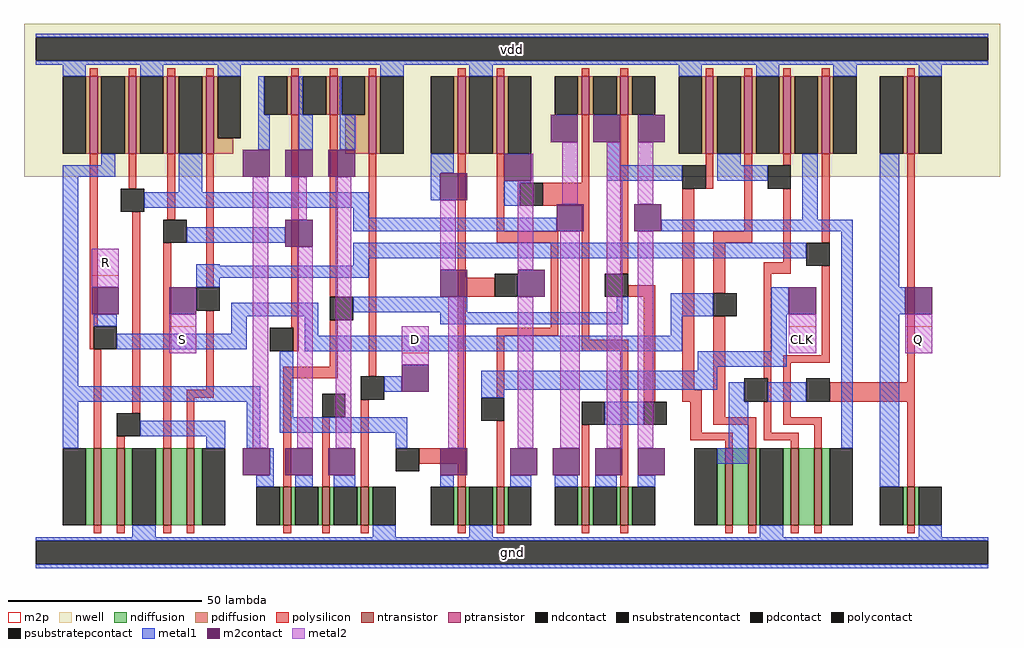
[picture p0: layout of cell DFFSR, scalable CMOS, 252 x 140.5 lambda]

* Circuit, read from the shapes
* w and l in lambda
.subckt DFFSR R S D CLK Q vdd gnd
M1 n1 R n2 gnd nfet w=20 l=2
M2 gnd n3 n1 gnd nfet w=20 l=2
M3 n4 n5 gnd gnd nfet w=20 l=2
M4 n3 S n4 gnd nfet w=20 l=2
M5 n5 n6 n2 gnd nfet w=10 l=2
M6 n7 n8 n5 gnd nfet w=10 l=2
M7 gnd D n7 gnd nfet w=10 l=2
M8 gnd n8 n6 gnd nfet w=10 l=2
M9 n8 CLK gnd gnd nfet w=10 l=2
M10 n9 n6 n3 gnd nfet w=10 l=2
M11 n10 n8 n9 gnd nfet w=10 l=2
M12 n11 n9 n12 gnd nfet w=20 l=2
M13 gnd R n11 gnd nfet w=20 l=2
M14 n13 n12 gnd gnd nfet w=20 l=2
M15 n10 S n13 gnd nfet w=20 l=2
M16 gnd n12 Q gnd nfet w=10 l=2
M17 n2 R vdd vdd pfet w=20 l=2
M18 vdd n3 n2 vdd pfet w=20 l=2
M19 n3 n5 vdd vdd pfet w=20 l=2
M20 vdd S n3 vdd pfet w=20 l=2
M21 n5 n8 n2 vdd pfet w=10 l=2
M22 n7 n6 n5 vdd pfet w=10 l=2
M23 vdd D n7 vdd pfet w=20 l=2
M24 vdd n8 n6 vdd pfet w=20 l=2
M25 n8 CLK vdd vdd pfet w=20 l=2
M26 n9 n8 n3 vdd pfet w=10 l=2
M27 n10 n6 n9 vdd pfet w=10 l=2
M28 n12 n9 vdd vdd pfet w=20 l=2
M29 vdd R n12 vdd pfet w=20 l=2
M30 n10 n12 vdd vdd pfet w=20 l=2
M31 vdd S n10 vdd pfet w=20 l=2
M32 vdd n12 Q vdd pfet w=20 l=2
.ends

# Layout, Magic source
magic
tech scmos
magscale 1 2
<< nwell >>
rect -12 194 492 273
<< ntransistor >>
rect 24 14 28 54
rect 36 14 40 54
rect 60 14 64 54
rect 72 14 76 54
rect 122 14 126 34
rect 142 14 146 34
rect 162 14 166 34
rect 212 14 216 34
rect 232 14 236 34
rect 276 14 280 34
rect 296 14 300 34
rect 350 14 354 54
rect 362 14 366 54
rect 384 14 388 54
rect 396 14 400 54
rect 444 14 448 34
<< ptransistor >>
rect 22 206 26 246
rect 42 206 46 246
rect 62 206 66 246
rect 82 206 86 246
rect 126 226 130 246
rect 146 226 150 246
rect 166 206 170 246
rect 212 206 216 246
rect 232 206 236 246
rect 276 226 280 246
rect 296 226 300 246
rect 340 206 344 246
rect 360 206 364 246
rect 380 206 384 246
rect 400 206 404 246
rect 444 206 448 246
<< ndiffusion >>
rect 20 14 24 54
rect 28 14 36 54
rect 40 14 44 54
rect 56 14 60 54
rect 64 14 72 54
rect 76 14 80 54
rect 120 14 122 34
rect 126 14 128 34
rect 140 14 142 34
rect 146 14 148 34
rect 160 14 162 34
rect 166 14 168 34
rect 210 14 212 34
rect 216 14 218 34
rect 230 14 232 34
rect 236 14 238 34
rect 274 14 276 34
rect 280 14 282 34
rect 294 14 296 34
rect 300 14 302 34
rect 346 14 350 54
rect 354 14 362 54
rect 366 14 368 54
rect 380 14 384 54
rect 388 14 396 54
rect 400 14 404 54
rect 442 14 444 34
rect 448 14 450 34
<< pdiffusion >>
rect 20 206 22 246
rect 26 206 28 246
rect 40 206 42 246
rect 46 206 48 246
rect 60 206 62 246
rect 66 206 68 246
rect 80 206 82 246
rect 86 214 88 246
rect 124 226 126 246
rect 130 226 132 246
rect 144 226 146 246
rect 150 226 152 246
rect 164 226 166 246
rect 86 206 96 214
rect 154 206 166 226
rect 170 206 172 246
rect 210 206 212 246
rect 216 206 218 246
rect 230 206 232 246
rect 236 206 238 246
rect 274 226 276 246
rect 280 226 282 246
rect 294 226 296 246
rect 300 226 302 246
rect 338 206 340 246
rect 344 206 346 246
rect 358 206 360 246
rect 364 206 366 246
rect 378 206 380 246
rect 384 206 386 246
rect 398 206 400 246
rect 404 206 406 246
rect 442 206 444 246
rect 448 206 450 246
<< ndcontact >>
rect 8 14 20 54
rect 44 14 56 54
rect 80 14 92 54
rect 108 14 120 34
rect 128 14 140 34
rect 148 14 160 34
rect 168 14 180 34
rect 198 14 210 34
rect 218 14 230 34
rect 238 14 250 34
rect 262 14 274 34
rect 282 14 294 34
rect 302 14 314 34
rect 334 14 346 54
rect 368 14 380 54
rect 404 14 416 54
rect 430 14 442 34
rect 450 14 462 34
<< pdcontact >>
rect 8 206 20 246
rect 28 206 40 246
rect 48 206 60 246
rect 68 206 80 246
rect 88 214 100 246
rect 112 226 124 246
rect 132 226 144 246
rect 152 226 164 246
rect 172 206 184 246
rect 198 206 210 246
rect 218 206 230 246
rect 238 206 250 246
rect 262 226 274 246
rect 282 226 294 246
rect 302 226 314 246
rect 326 206 338 246
rect 346 206 358 246
rect 366 206 378 246
rect 386 206 398 246
rect 406 206 418 246
rect 430 206 442 246
rect 450 206 462 246
<< psubstratepcontact >>
rect -6 -6 486 6
<< nsubstratencontact >>
rect -6 254 486 266
<< polysilicon >>
rect 22 246 26 250
rect 42 246 46 250
rect 62 246 66 250
rect 82 246 86 250
rect 126 246 130 250
rect 146 246 150 250
rect 166 246 170 250
rect 212 246 216 250
rect 232 246 236 250
rect 276 246 280 250
rect 296 246 300 250
rect 340 246 344 250
rect 360 246 364 250
rect 380 246 384 250
rect 400 246 404 250
rect 444 246 448 250
rect 22 117 26 206
rect 42 188 46 206
rect 22 105 24 117
rect 24 54 28 105
rect 44 72 48 176
rect 62 172 66 206
rect 36 54 40 60
rect 60 54 64 160
rect 82 137 86 206
rect 82 84 86 125
rect 126 116 130 226
rect 127 104 130 116
rect 146 132 150 226
rect 146 96 150 120
rect 72 80 86 84
rect 122 90 150 96
rect 166 91 170 206
rect 212 142 216 206
rect 232 166 236 206
rect 276 191 280 226
rect 256 179 280 191
rect 232 160 264 166
rect 212 132 231 142
rect 72 54 76 80
rect 122 34 126 90
rect 142 34 146 70
rect 162 34 166 79
rect 212 54 216 132
rect 260 116 264 160
rect 232 112 264 116
rect 232 80 236 112
rect 276 110 280 179
rect 296 144 300 226
rect 340 188 344 206
rect 300 132 314 138
rect 276 104 300 110
rect 192 46 216 54
rect 212 34 216 46
rect 232 34 236 68
rect 276 34 280 66
rect 296 34 300 104
rect 308 78 314 132
rect 328 84 334 188
rect 360 166 364 206
rect 380 200 384 206
rect 344 160 364 166
rect 344 134 350 160
rect 380 150 384 188
rect 400 160 404 206
rect 370 144 384 150
rect 328 78 338 84
rect 332 62 338 78
rect 344 70 350 122
rect 370 90 374 144
rect 400 102 404 148
rect 372 78 374 90
rect 344 66 366 70
rect 332 58 354 62
rect 350 54 354 58
rect 362 54 366 66
rect 370 62 374 78
rect 380 98 404 102
rect 380 70 384 98
rect 444 88 448 206
rect 404 78 448 88
rect 380 66 400 70
rect 370 58 388 62
rect 384 54 388 58
rect 396 54 400 66
rect 444 34 448 78
rect 24 10 28 14
rect 36 10 40 14
rect 60 10 64 14
rect 72 10 76 14
rect 122 10 126 14
rect 142 10 146 14
rect 162 10 166 14
rect 212 10 216 14
rect 232 10 236 14
rect 276 10 280 14
rect 296 10 300 14
rect 350 10 354 14
rect 362 10 366 14
rect 384 10 388 14
rect 396 10 400 14
rect 444 10 448 14
<< polycontact >>
rect 38 176 50 188
rect 24 105 36 117
rect 36 60 48 72
rect 60 160 72 172
rect 77 125 89 137
rect 115 104 127 116
rect 146 120 158 132
rect 244 179 256 191
rect 231 132 243 144
rect 142 70 154 82
rect 162 79 174 91
rect 288 132 300 144
rect 328 188 340 200
rect 224 68 236 80
rect 180 42 192 54
rect 276 66 288 78
rect 372 188 384 200
rect 392 148 404 160
rect 344 122 356 134
rect 308 66 320 78
rect 360 78 372 90
rect 392 78 404 90
<< metal1 >>
rect -6 266 486 268
rect -6 252 486 254
rect 8 246 20 252
rect 48 246 60 252
rect 88 246 100 252
rect 172 246 184 252
rect 218 246 230 252
rect 326 246 338 252
rect 366 246 378 252
rect 406 246 418 252
rect 450 246 462 252
rect 109 226 112 246
rect 130 226 132 246
rect 151 226 152 246
rect 109 208 115 226
rect 130 208 137 226
rect 151 208 159 226
rect 28 200 35 206
rect 8 194 35 200
rect 8 86 16 194
rect 68 186 80 206
rect 198 196 210 206
rect 50 178 166 186
rect 198 182 203 196
rect 289 200 296 212
rect 346 200 358 206
rect 289 192 328 200
rect 236 191 250 192
rect 236 179 244 191
rect 346 192 372 200
rect 158 173 166 178
rect 72 160 123 168
rect 158 166 263 173
rect 390 172 398 206
rect 317 166 416 172
rect 158 152 392 160
rect 77 148 89 149
rect 158 148 166 152
rect 77 142 166 148
rect 77 137 89 142
rect 24 117 36 123
rect 95 122 140 129
rect 95 113 103 122
rect 36 105 103 113
rect 133 112 140 122
rect 158 124 217 132
rect 294 124 300 132
rect 203 118 300 124
rect 322 122 344 134
rect 374 123 383 137
rect 322 112 328 122
rect 133 104 328 112
rect 374 104 382 123
rect 8 78 110 86
rect 8 54 16 78
rect 48 60 92 68
rect 82 54 92 60
rect 103 54 110 78
rect 120 70 127 104
rect 174 83 183 91
rect 336 96 382 104
rect 336 94 346 96
rect 224 84 346 94
rect 224 80 236 84
rect 120 62 186 70
rect 352 78 360 88
rect 372 78 392 88
rect 288 66 308 78
rect 180 54 186 62
rect 352 54 362 78
rect 410 54 416 166
rect 115 40 117 54
rect 108 34 117 40
rect 128 34 137 40
rect 148 34 159 40
rect 203 34 210 40
rect 239 34 250 40
rect 262 34 274 40
rect 283 34 294 40
rect 305 34 314 40
rect 346 46 362 54
rect 430 137 440 206
rect 430 123 443 137
rect 430 34 440 123
rect 44 8 56 14
rect 168 8 180 14
rect 218 8 230 14
rect 368 8 380 14
rect 450 8 462 14
rect -6 6 486 8
rect -6 -8 486 -6
<< m2contact >>
rect 101 194 115 208
rect 123 194 137 208
rect 145 194 159 208
rect 260 212 274 226
rect 282 212 296 226
rect 305 212 319 226
rect 203 182 217 196
rect 236 192 250 206
rect 123 158 137 172
rect 263 166 277 180
rect 303 166 317 180
rect 23 123 37 137
rect 63 123 77 137
rect 203 132 217 146
rect 243 132 257 146
rect 383 123 397 137
rect 183 83 197 97
rect 101 40 115 54
rect 123 40 137 54
rect 145 40 159 54
rect 203 40 217 54
rect 239 40 253 54
rect 261 40 275 54
rect 283 40 297 54
rect 305 40 319 54
rect 443 123 457 137
<< metal2 >>
rect 23 137 37 157
rect 63 103 77 123
rect 106 54 114 194
rect 126 172 134 194
rect 129 54 137 158
rect 149 54 157 194
rect 250 192 251 206
rect 203 146 211 182
rect 243 146 251 192
rect 266 180 274 212
rect 289 192 296 212
rect 183 97 197 117
rect 207 54 215 132
rect 243 54 251 132
rect 265 54 275 166
rect 289 54 297 192
rect 305 180 313 212
rect 305 54 313 166
rect 383 103 397 123
rect 443 103 457 123
<< m2p >>
rect 23 143 37 157
rect 63 103 77 117
rect 183 103 197 117
rect 383 103 397 117
rect 443 103 457 117
<< labels >>
rlabel metal2 23 143 37 157 0 R
port 0 nsew signal input
rlabel metal2 63 103 77 117 0 S
port 1 nsew signal input
rlabel metal2 183 103 197 117 0 D
port 2 nsew signal input
rlabel metal2 383 103 397 117 0 CLK
port 3 nsew clock input
rlabel metal2 443 103 457 117 0 Q
port 4 nsew signal output
rlabel metal1 -6 252 486 268 0 vdd
port 5 nsew power bidirectional abutment
rlabel metal1 -6 -8 486 8 0 gnd
port 6 nsew ground bidirectional abutment
<< properties >>
string FIXED_BBOX 0 0 480 260
string LEFclass CORE
string LEFsite core
string LEFsymmetry X Y
<< end >>
